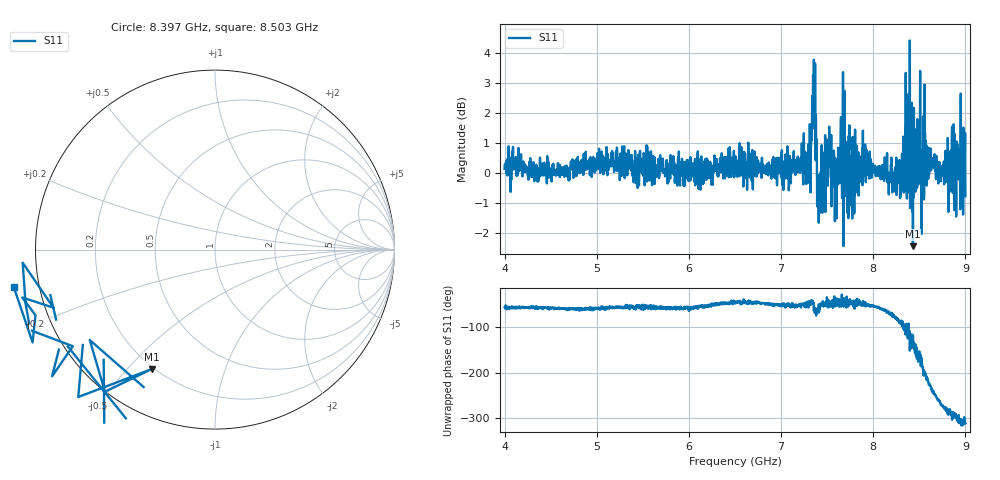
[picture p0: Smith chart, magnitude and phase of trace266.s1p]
! Created with skrf 1.8.0 (http://scikit-rf.org).
# Hz S RI R 50.0
!freq ReS11 ImS11
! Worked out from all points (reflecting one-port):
!   1601 points, 4 GHz to 9 GHz, reference 50 ohm
!   lowest |S11| = -2.5 dB at 8.431 GHz (marker M1), VSWR 7.13, Z = 9.48 - j29.3 ohm
!   phase of S11 starts at -57 deg and turns -254 deg over the sweep
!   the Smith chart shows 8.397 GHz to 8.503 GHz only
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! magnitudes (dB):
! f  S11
! 4 GHz  0.1
! 4.625 GHz  -0.1
! 5.25 GHz  -0.2
! 5.875 GHz  0.2
! 6.5 GHz  0.1
! 7.125 GHz  0.1
! 7.297 GHz  1.0
! 7.353 GHz  3.0
! 7.362 GHz  2.4
! 7.397 GHz  -0.5
! 7.412 GHz  -0.1
! 7.512 GHz  0.9
! 7.609 GHz  -0.1
! 7.669 GHz  1.7
! 7.703 GHz  -0.2
! 7.75 GHz  0.4
! 7.903 GHz  0.5
! 8.316 GHz  0.4
! 8.331 GHz  -0.7
! 8.347 GHz  1.3
! 8.375 GHz  0.8
! 8.431 GHz  -2.5
! 8.447 GHz  1.2
! 8.497 GHz  0.5
! 8.512 GHz  0.7
! 8.812 GHz  0.5
! 8.972 GHz  0.5
! 9 GHz  -0.8
